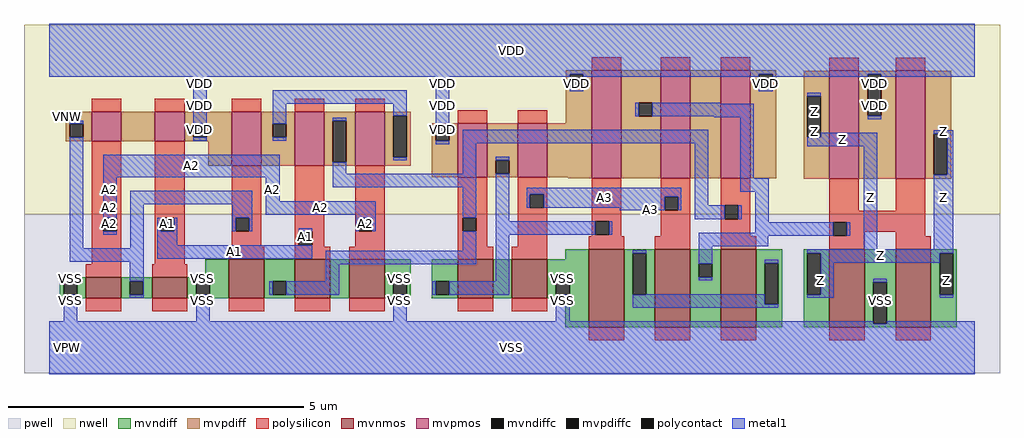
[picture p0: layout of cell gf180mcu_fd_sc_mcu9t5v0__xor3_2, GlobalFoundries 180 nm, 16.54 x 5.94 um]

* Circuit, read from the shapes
.subckt gf180mcu_fd_sc_mcu9t5v0__xor3_2 A1 A2 A3 Z VDD VNW VPW VSS
XM1 n1 A2 VSS VPW nfet_06v0 w=0.36u l=0.6u
XM2 VSS A1 n1 VPW nfet_06v0 w=0.36u l=0.6u
XM3 n2 n1 VSS VPW nfet_06v0 w=0.66u l=0.6u
XM4 n3 A1 n2 VPW nfet_06v0 w=0.66u l=0.6u
XM5 VSS A2 n3 VPW nfet_06v0 w=0.66u l=0.6u
XM6 n4 n2 n5 VPW nfet_06v0 w=0.66u l=0.6u
XM7 VSS A3 n4 VPW nfet_06v0 w=0.66u l=0.6u
XM8 n6 n5 VSS VPW nfet_06v0 w=1.32u l=0.6u
XM9 n7 A3 n6 VPW nfet_06v0 w=1.32u l=0.6u
XM10 n6 n2 n7 VPW nfet_06v0 w=1.32u l=0.6u
XM11 VSS n7 Z VPW nfet_06v0 w=1.32u l=0.6u m=2
XM12 n8 A2 n1 VNW pfet_06v0 w=0.495u l=0.5u
XM13 VDD A1 n8 VNW pfet_06v0 w=0.495u l=0.5u
XM14 n9 n1 VDD VNW pfet_06v0 w=0.915u l=0.5u
XM15 n2 A1 n9 VNW pfet_06v0 w=0.915u l=0.5u
XM16 n9 A2 n2 VNW pfet_06v0 w=0.915u l=0.5u
XM17 n5 n2 VDD VNW pfet_06v0 w=0.915u l=0.5u
XM18 VDD A3 n5 VNW pfet_06v0 w=0.915u l=0.5u
XM19 n7 n5 VDD VNW pfet_06v0 w=1.83u l=0.5u
XM20 n10 A3 n7 VNW pfet_06v0 w=1.83u l=0.5u
XM21 VDD n2 n10 VNW pfet_06v0 w=1.83u l=0.5u
XM22 VDD n7 Z VNW pfet_06v0 w=1.83u l=0.5u m=2
.ends

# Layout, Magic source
magic
tech gf180mcuD
magscale 1 10
<< nwell >>
rect -86 453 3222 1094
<< pwell >>
rect -86 -86 3222 453
<< mvnmos >>
rect 124 167 244 239
rect 348 167 468 239
rect 608 167 728 299
rect 832 167 952 299
rect 1016 167 1136 299
rect 1384 167 1504 299
rect 1568 167 1688 299
rect 1828 69 1948 333
rect 2052 69 2172 333
rect 2276 69 2396 333
rect 2644 69 2764 333
rect 2868 69 2988 333
<< mvpmos >>
rect 144 700 244 799
rect 358 700 458 799
rect 618 616 718 799
rect 832 616 932 799
rect 1036 616 1136 799
rect 1384 577 1484 760
rect 1588 577 1688 760
rect 1838 574 1938 940
rect 2072 574 2172 940
rect 2276 574 2376 940
rect 2644 573 2744 939
rect 2868 573 2968 939
<< mvndiff >>
rect 1748 299 1828 333
rect 528 239 608 299
rect 36 226 124 239
rect 36 180 49 226
rect 95 180 124 226
rect 36 167 124 180
rect 244 226 348 239
rect 244 180 273 226
rect 319 180 348 226
rect 244 167 348 180
rect 468 226 608 239
rect 468 180 497 226
rect 543 180 608 226
rect 468 167 608 180
rect 728 226 832 299
rect 728 180 757 226
rect 803 180 832 226
rect 728 167 832 180
rect 952 167 1016 299
rect 1136 226 1224 299
rect 1136 180 1165 226
rect 1211 180 1224 226
rect 1136 167 1224 180
rect 1296 226 1384 299
rect 1296 180 1309 226
rect 1355 180 1384 226
rect 1296 167 1384 180
rect 1504 167 1568 299
rect 1688 226 1828 299
rect 1688 180 1717 226
rect 1763 180 1828 226
rect 1688 167 1828 180
rect 1748 69 1828 167
rect 1948 320 2052 333
rect 1948 180 1977 320
rect 2023 180 2052 320
rect 1948 69 2052 180
rect 2172 285 2276 333
rect 2172 239 2201 285
rect 2247 239 2276 285
rect 2172 69 2276 239
rect 2396 287 2484 333
rect 2396 147 2425 287
rect 2471 147 2484 287
rect 2396 69 2484 147
rect 2556 320 2644 333
rect 2556 180 2569 320
rect 2615 180 2644 320
rect 2556 69 2644 180
rect 2764 222 2868 333
rect 2764 82 2793 222
rect 2839 82 2868 222
rect 2764 69 2868 82
rect 2988 320 3076 333
rect 2988 180 3017 320
rect 3063 180 3076 320
rect 2988 69 3076 180
<< mvpdiff >>
rect 1750 927 1838 940
rect 1750 881 1763 927
rect 1809 881 1838 927
rect 56 759 144 799
rect 56 713 69 759
rect 115 713 144 759
rect 56 700 144 713
rect 244 700 358 799
rect 458 759 618 799
rect 458 713 487 759
rect 533 713 618 759
rect 458 700 618 713
rect 538 616 618 700
rect 718 759 832 799
rect 718 713 757 759
rect 803 713 832 759
rect 718 616 832 713
rect 932 769 1036 799
rect 932 629 961 769
rect 1007 629 1036 769
rect 932 616 1036 629
rect 1136 786 1224 799
rect 1136 646 1165 786
rect 1211 646 1224 786
rect 1750 760 1838 881
rect 1136 616 1224 646
rect 1296 747 1384 760
rect 1296 701 1309 747
rect 1355 701 1384 747
rect 1296 577 1384 701
rect 1484 636 1588 760
rect 1484 590 1513 636
rect 1559 590 1588 636
rect 1484 577 1588 590
rect 1688 577 1838 760
rect 1758 574 1838 577
rect 1938 831 2072 940
rect 1938 785 1997 831
rect 2043 785 2072 831
rect 1938 574 2072 785
rect 2172 574 2276 940
rect 2376 927 2464 940
rect 2376 881 2405 927
rect 2451 881 2464 927
rect 2376 574 2464 881
rect 2556 853 2644 939
rect 2556 713 2569 853
rect 2615 713 2644 853
rect 2556 573 2644 713
rect 2744 926 2868 939
rect 2744 786 2773 926
rect 2819 786 2868 926
rect 2744 573 2868 786
rect 2968 726 3056 939
rect 2968 586 2997 726
rect 3043 586 3056 726
rect 2968 573 3056 586
<< mvndiffc >>
rect 49 180 95 226
rect 273 180 319 226
rect 497 180 543 226
rect 757 180 803 226
rect 1165 180 1211 226
rect 1309 180 1355 226
rect 1717 180 1763 226
rect 1977 180 2023 320
rect 2201 239 2247 285
rect 2425 147 2471 287
rect 2569 180 2615 320
rect 2793 82 2839 222
rect 3017 180 3063 320
<< mvpdiffc >>
rect 1763 881 1809 927
rect 69 713 115 759
rect 487 713 533 759
rect 757 713 803 759
rect 961 629 1007 769
rect 1165 646 1211 786
rect 1309 701 1355 747
rect 1513 590 1559 636
rect 1997 785 2043 831
rect 2405 881 2451 927
rect 2569 713 2615 853
rect 2773 786 2819 926
rect 2997 586 3043 726
<< polysilicon >>
rect 1838 940 1938 984
rect 2072 940 2172 984
rect 2276 940 2376 984
rect 144 799 244 843
rect 358 799 458 843
rect 618 799 718 843
rect 832 799 932 843
rect 1036 799 1136 843
rect 144 440 244 700
rect 144 394 182 440
rect 228 394 244 440
rect 144 283 244 394
rect 358 440 458 700
rect 1384 760 1484 804
rect 1588 760 1688 804
rect 358 394 377 440
rect 423 394 458 440
rect 358 283 458 394
rect 618 440 718 616
rect 618 394 631 440
rect 677 394 718 440
rect 618 343 718 394
rect 832 394 932 616
rect 832 348 845 394
rect 891 348 932 394
rect 832 343 932 348
rect 1036 440 1136 616
rect 1036 394 1049 440
rect 1095 394 1136 440
rect 1036 343 1136 394
rect 608 299 728 343
rect 832 299 952 343
rect 1016 299 1136 343
rect 1384 440 1484 577
rect 1384 394 1401 440
rect 1447 394 1484 440
rect 1384 343 1484 394
rect 1588 520 1688 577
rect 2644 939 2744 983
rect 2868 939 2968 983
rect 1588 474 1629 520
rect 1675 474 1688 520
rect 1588 343 1688 474
rect 1838 428 1938 574
rect 1838 382 1851 428
rect 1897 382 1938 428
rect 1838 377 1938 382
rect 2072 512 2172 574
rect 2072 466 2085 512
rect 2131 466 2172 512
rect 2072 377 2172 466
rect 1384 299 1504 343
rect 1568 299 1688 343
rect 1828 333 1948 377
rect 2052 333 2172 377
rect 2276 482 2376 574
rect 2276 436 2289 482
rect 2335 436 2376 482
rect 2276 377 2376 436
rect 2644 465 2744 573
rect 2868 465 2968 573
rect 2644 426 2968 465
rect 2644 380 2657 426
rect 2703 393 2968 426
rect 2703 380 2764 393
rect 2276 333 2396 377
rect 2644 333 2764 380
rect 2868 377 2968 393
rect 2868 333 2988 377
rect 124 239 244 283
rect 348 239 468 283
rect 124 123 244 167
rect 348 123 468 167
rect 608 123 728 167
rect 832 123 952 167
rect 1016 123 1136 167
rect 1384 123 1504 167
rect 1568 123 1688 167
rect 1828 25 1948 69
rect 2052 25 2172 69
rect 2276 25 2396 69
rect 2644 25 2764 69
rect 2868 25 2988 69
<< polycontact >>
rect 182 394 228 440
rect 377 394 423 440
rect 631 394 677 440
rect 845 348 891 394
rect 1049 394 1095 440
rect 1401 394 1447 440
rect 1629 474 1675 520
rect 1851 382 1897 428
rect 2085 466 2131 512
rect 2289 436 2335 482
rect 2657 380 2703 426
<< metal1 >>
rect 0 927 3136 1098
rect 0 918 1763 927
rect 69 759 115 770
rect 69 337 115 713
rect 487 759 533 918
rect 487 702 533 713
rect 757 826 1211 872
rect 757 759 803 826
rect 1165 786 1211 826
rect 757 702 803 713
rect 961 769 1007 780
rect 182 578 780 654
rect 182 440 228 578
rect 182 383 228 394
rect 274 486 688 532
rect 274 337 320 486
rect 620 440 688 486
rect 734 497 780 578
rect 1309 747 1355 918
rect 1809 918 2405 927
rect 1763 870 1809 881
rect 2451 926 3136 927
rect 2451 918 2773 926
rect 2405 870 2451 881
rect 2569 853 2615 864
rect 1986 785 1997 831
rect 2043 827 2272 831
rect 2043 785 2388 827
rect 2253 781 2388 785
rect 1309 690 1355 701
rect 1401 693 2234 739
rect 1165 635 1211 646
rect 961 589 1007 629
rect 1401 589 1447 693
rect 961 543 1447 589
rect 734 451 1106 497
rect 69 291 320 337
rect 366 394 377 440
rect 423 394 434 440
rect 620 394 631 440
rect 677 394 688 440
rect 1038 440 1106 451
rect 845 394 891 405
rect 1038 394 1049 440
rect 1095 394 1106 440
rect 1401 440 1447 543
rect 366 348 434 394
rect 366 302 891 348
rect 1401 329 1447 394
rect 49 226 95 237
rect 49 90 95 180
rect 273 226 320 291
rect 937 283 1447 329
rect 1513 636 1559 647
rect 1513 428 1559 590
rect 1618 520 2142 542
rect 1618 474 1629 520
rect 1675 512 2142 520
rect 1675 474 2085 512
rect 1934 466 2085 474
rect 2131 466 2142 512
rect 2188 482 2234 693
rect 2342 574 2388 781
rect 2819 918 3136 926
rect 2773 775 2819 786
rect 2615 713 2806 729
rect 2569 683 2806 713
rect 2342 528 2438 574
rect 2188 436 2289 482
rect 2335 436 2346 482
rect 1513 382 1851 428
rect 1897 382 1908 428
rect 2392 426 2438 528
rect 2392 390 2657 426
rect 319 180 320 226
rect 273 169 320 180
rect 497 226 543 237
rect 937 226 983 283
rect 746 180 757 226
rect 803 180 983 226
rect 1165 226 1211 237
rect 1513 226 1559 382
rect 2201 380 2657 390
rect 2703 380 2714 426
rect 2201 344 2437 380
rect 1977 320 2023 331
rect 1298 180 1309 226
rect 1355 180 1559 226
rect 1717 226 1763 237
rect 497 90 543 180
rect 1165 90 1211 180
rect 1717 90 1763 180
rect 2201 285 2247 344
rect 2760 334 2806 683
rect 2997 726 3063 737
rect 3043 586 3063 726
rect 2997 334 3063 586
rect 2569 320 3063 334
rect 2201 228 2247 239
rect 2425 287 2471 298
rect 2023 180 2425 182
rect 1977 147 2425 180
rect 2615 288 3017 320
rect 2615 180 2658 288
rect 2569 169 2658 180
rect 2793 222 2839 233
rect 1977 136 2471 147
rect 0 82 2793 90
rect 3017 169 3063 180
rect 2839 82 3136 90
rect 0 -90 3136 82
<< labels >>
flabel metal1 s 366 405 434 440 0 FreeSans 200 0 0 0 A1
port 1 nsew default input
flabel metal1 s 182 578 780 654 0 FreeSans 200 0 0 0 A2
port 2 nsew default input
flabel metal1 s 1618 474 2142 542 0 FreeSans 200 0 0 0 A3
port 3 nsew default input
flabel metal1 s 0 918 3136 1098 0 FreeSans 200 0 0 0 VDD
port 5 nsew power bidirectional abutment
flabel metal1 s 1717 233 1763 237 0 FreeSans 200 0 0 0 VSS
port 8 nsew ground bidirectional abutment
flabel metal1 s 2569 737 2615 864 0 FreeSans 200 0 0 0 Z
port 4 nsew default output
flabel nwell s 10 734 110 834 0 FreeSans 400 0 0 0 VNW
port 6 nsew power bidirectional
flabel pwell s 10 -50 110 50 0 FreeSans 400 0 0 0 VPW
port 7 nsew ground bidirectional
rlabel metal1 s 845 348 891 405 1 A1
port 1 nsew default input
rlabel metal1 s 366 348 434 405 1 A1
port 1 nsew default input
rlabel metal1 s 366 302 891 348 1 A1
port 1 nsew default input
rlabel metal1 s 734 497 780 578 1 A2
port 2 nsew default input
rlabel metal1 s 182 497 228 578 1 A2
port 2 nsew default input
rlabel metal1 s 734 451 1106 497 1 A2
port 2 nsew default input
rlabel metal1 s 182 451 228 497 1 A2
port 2 nsew default input
rlabel metal1 s 1038 394 1106 451 1 A2
port 2 nsew default input
rlabel metal1 s 182 394 228 451 1 A2
port 2 nsew default input
rlabel metal1 s 182 383 228 394 1 A2
port 2 nsew default input
rlabel metal1 s 1934 466 2142 474 1 A3
port 3 nsew default input
rlabel metal1 s 2997 729 3063 737 1 Z
port 4 nsew default output
rlabel metal1 s 2569 729 2615 737 1 Z
port 4 nsew default output
rlabel metal1 s 2997 683 3063 729 1 Z
port 4 nsew default output
rlabel metal1 s 2569 683 2806 729 1 Z
port 4 nsew default output
rlabel metal1 s 2997 334 3063 683 1 Z
port 4 nsew default output
rlabel metal1 s 2760 334 2806 683 1 Z
port 4 nsew default output
rlabel metal1 s 2569 288 3063 334 1 Z
port 4 nsew default output
rlabel metal1 s 3017 169 3063 288 1 Z
port 4 nsew default output
rlabel metal1 s 2569 169 2658 288 1 Z
port 4 nsew default output
rlabel metal1 s 2773 870 2819 918 1 VDD
port 5 nsew power bidirectional abutment
rlabel metal1 s 2405 870 2451 918 1 VDD
port 5 nsew power bidirectional abutment
rlabel metal1 s 1763 870 1809 918 1 VDD
port 5 nsew power bidirectional abutment
rlabel metal1 s 1309 870 1355 918 1 VDD
port 5 nsew power bidirectional abutment
rlabel metal1 s 487 870 533 918 1 VDD
port 5 nsew power bidirectional abutment
rlabel metal1 s 2773 775 2819 870 1 VDD
port 5 nsew power bidirectional abutment
rlabel metal1 s 1309 775 1355 870 1 VDD
port 5 nsew power bidirectional abutment
rlabel metal1 s 487 775 533 870 1 VDD
port 5 nsew power bidirectional abutment
rlabel metal1 s 1309 702 1355 775 1 VDD
port 5 nsew power bidirectional abutment
rlabel metal1 s 487 702 533 775 1 VDD
port 5 nsew power bidirectional abutment
rlabel metal1 s 1309 690 1355 702 1 VDD
port 5 nsew power bidirectional abutment
rlabel metal1 s 1165 233 1211 237 1 VSS
port 8 nsew ground bidirectional abutment
rlabel metal1 s 497 233 543 237 1 VSS
port 8 nsew ground bidirectional abutment
rlabel metal1 s 49 233 95 237 1 VSS
port 8 nsew ground bidirectional abutment
rlabel metal1 s 2793 90 2839 233 1 VSS
port 8 nsew ground bidirectional abutment
rlabel metal1 s 1717 90 1763 233 1 VSS
port 8 nsew ground bidirectional abutment
rlabel metal1 s 1165 90 1211 233 1 VSS
port 8 nsew ground bidirectional abutment
rlabel metal1 s 497 90 543 233 1 VSS
port 8 nsew ground bidirectional abutment
rlabel metal1 s 49 90 95 233 1 VSS
port 8 nsew ground bidirectional abutment
rlabel metal1 s 0 -90 3136 90 1 VSS
port 8 nsew ground bidirectional abutment
<< properties >>
string FIXED_BBOX 0 0 3136 1008
string GDS_END 513090
string GDS_FILE $PDKPATH/libs.ref/gf180mcu_fd_sc_mcu9t5v0/gds/gf180mcu_fd_sc_mcu9t5v0.gds
string GDS_START 505536
string LEFclass core
string LEFsite GF018hv5v_green_sc9
string LEFsymmetry X Y
<< end >>
